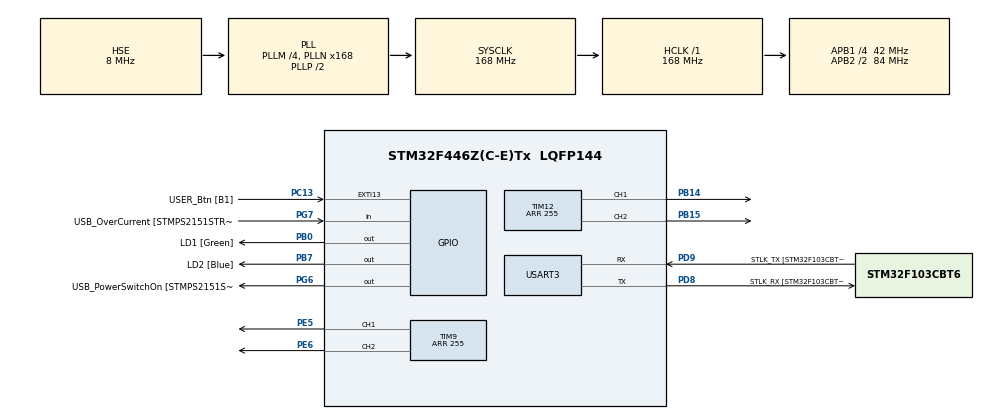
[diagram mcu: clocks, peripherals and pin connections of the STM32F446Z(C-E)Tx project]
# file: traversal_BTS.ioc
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Dma.Request0=USART3_RX
Dma.USART3_RX.0.Direction=DMA_PERIPH_TO_MEMORY
Dma.USART3_RX.0.FIFOMode=DMA_FIFOMODE_DISABLE
Dma.USART3_RX.0.Instance=DMA1_Stream1
Dma.USART3_RX.0.MemDataAlignment=DMA_MDATAALIGN_BYTE
Dma.USART3_RX.0.MemInc=DMA_MINC_ENABLE
Dma.USART3_RX.0.Mode=DMA_CIRCULAR
Dma.USART3_RX.0.PeriphDataAlignment=DMA_PDATAALIGN_BYTE
Dma.USART3_RX.0.PeriphInc=DMA_PINC_DISABLE
Dma.USART3_RX.0.Priority=DMA_PRIORITY_LOW
Mcu.Family=STM32F4
Mcu.Name=STM32F446Z(C-E)Tx
Mcu.Package=LQFP144
NVIC.DMA1_Stream1_IRQn=true\:0\:0\:false\:false\:true\:false\:true\:true
NVIC.PriorityGroup=NVIC_PRIORITYGROUP_4
PA10.GPIO_Label=USB_ID
PA10.Signal=USB_OTG_FS_ID
PA11.GPIO_Label=USB_DM
PA11.Signal=USB_OTG_FS_DM
PA12.GPIO_Label=USB_DP
PA12.Signal=USB_OTG_FS_DP
PA13.GPIO_Label=TMS
PA13.Mode=Serial_Wire
PA13.Signal=SYS_JTMS-SWDIO
PA14.GPIO_Label=TCK
PA14.Mode=Serial_Wire
PA14.Signal=SYS_JTCK-SWCLK
PA8.GPIO_Label=USB_SOF [TP1]
PA8.Signal=USB_OTG_FS_SOF
PA9.GPIO_Label=USB_VBUS
PA9.Signal=USB_OTG_FS_VBUS
PB0.GPIO_Label=LD1 [Green]
PB0.Signal=GPIO_Output
PB14.Signal=S_TIM12_CH1
PB15.Signal=S_TIM12_CH2
PB7.GPIO_Label=LD2 [Blue]
PB7.Signal=GPIO_Output
PC13.GPIO_Label=USER_Btn [B1]
PC13.Signal=GPXTI13
PC14-OSC32_IN.Mode=LSE-External-Oscillator
PC14-OSC32_IN.Signal=RCC_OSC32_IN
PC15-OSC32_OUT.Mode=LSE-External-Oscillator
PC15-OSC32_OUT.Signal=RCC_OSC32_OUT
PD8.GPIO_Label=STLK_RX [STM32F103CBT6_PA3]
PD8.Mode=Asynchronous
PD8.Signal=USART3_TX
PD9.GPIO_Label=STLK_TX [STM32F103CBT6_PA2]
PD9.Mode=Asynchronous
PD9.Signal=USART3_RX
PE5.Signal=S_TIM9_CH1
PE6.Signal=S_TIM9_CH2
PG6.GPIO_Label=USB_PowerSwitchOn [STMPS2151STR_EN]
PG6.Signal=GPIO_Output
PG7.GPIO_Label=USB_OverCurrent [STMPS2151STR_FAULT]
PG7.Signal=GPIO_Input
PH0-OSC_IN.GPIO_Label=MCO [STM32F103CBT6_PA8]
PH0-OSC_IN.Mode=HSE-External-Clock-Source
PH0-OSC_IN.Signal=RCC_OSC_IN
PH1-OSC_OUT.Mode=HSE-External-Clock-Source
PH1-OSC_OUT.Signal=RCC_OSC_OUT
ProjectManager.HeapSize=0x200
ProjectManager.StackSize=0x400
ProjectManager.TargetToolchain=STM32CubeIDE
RCC.48MHZClocksFreq_Value=24000000
RCC.AHBFreq_Value=168000000
RCC.APB1CLKDivider=RCC_HCLK_DIV4
RCC.APB1Freq_Value=42000000
RCC.APB1TimFreq_Value=84000000
RCC.APB2CLKDivider=RCC_HCLK_DIV2
RCC.APB2Freq_Value=84000000
RCC.APB2TimFreq_Value=168000000
RCC.CortexFreq_Value=168000000
RCC.HCLKFreq_Value=168000000
RCC.HSE_VALUE=8000000
RCC.HSI_VALUE=16000000
RCC.PLLM=4
RCC.PLLMUL=RCC_PLL_MUL9
RCC.PLLN=168
RCC.PLLQ=7
RCC.PLLSourceVirtual=RCC_PLLSOURCE_HSE
RCC.PRESCALERUSB=RCC_USBCLKSOURCE_PLL_DIV1_5
RCC.SYSCLKFreq_VALUE=168000000
RCC.SYSCLKSource=RCC_SYSCLKSOURCE_PLLCLK
RCC.SYSCLKSourceVirtual=RCC_SYSCLKSOURCE_PLLCLK
RCC.USBFreq_Value=48000000
RCC.VCOOutputFreq_Value=336000000
SH.S_TIM12_CH1.0=TIM12_CH1,PWM Generation1 CH1
SH.S_TIM12_CH2.0=TIM12_CH2,PWM Generation2 CH2
SH.S_TIM9_CH1.0=TIM9_CH1,PWM Generation1 CH1
SH.S_TIM9_CH2.0=TIM9_CH2,PWM Generation2 CH2
TIM12.Channel-PWM\ Generation1\ CH1=TIM_CHANNEL_1
TIM12.Channel-PWM\ Generation2\ CH2=TIM_CHANNEL_2
TIM12.Period=255
TIM9.Channel-PWM\ Generation1\ CH1=TIM_CHANNEL_1
TIM9.Channel-PWM\ Generation2\ CH2=TIM_CHANNEL_2
TIM9.Period=255
USART3.VirtualMode=VM_ASYNC
VP_TIM12_VS_ClockSourceINT.Mode=Internal
VP_TIM9_VS_ClockSourceINT.Mode=Internal
board=NUCLEO-F446ZE

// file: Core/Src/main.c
/* USER CODE BEGIN Header */
/**
  ******************************************************************************
  * @file           : main.c
  * @brief          : Main program body
  ******************************************************************************
  * @attention
  *
  * Copyright (c) 2026 STMicroelectronics.
  * All rights reserved.
  *
  * This software is licensed under terms that can be found in the LICENSE file
  * in the root directory of this software component.
  * If no LICENSE file comes with this software, it is provided AS-IS.
  *
  ******************************************************************************
  */
/* USER CODE END Header */
#include "main.h"

TIM_HandleTypeDef htim9;
TIM_HandleTypeDef htim12;

UART_HandleTypeDef huart3;
DMA_HandleTypeDef hdma_usart3_rx;

/* USER CODE BEGIN PV */

volatile uint8_t UART3_rxBuffer[4] = {0};

/* USER CODE END PV */

void SystemClock_Config(void);
static void MX_GPIO_Init(void);
static void MX_DMA_Init(void);
static void MX_USART3_UART_Init(void);
static void MX_TIM9_Init(void);
static void MX_TIM12_Init(void);
/* USER CODE BEGIN PFP */

void setMotor_direct(volatile uint8_t cmd[4])
{
    int left_pwm  = cmd[0];  // 0–255
    int left_dir  = cmd[1];  // 0 = forward, 1 = backward
    int right_pwm = cmd[2]; // 0–255
    int right_dir = cmd[3]; // 0 = forward, 1 = backward

    if (left_pwm > 255) left_pwm = 255;
    if (right_pwm > 255) right_pwm = 255;

    int left_speed = left_pwm;
    int right_speed = right_pwm;

    /* LEFT MOTORS (TIM9) — clear first */
    TIM9->CCR1 = 0;
    TIM9->CCR2 = 0;

    /* RIGHT MOTORS (TIM12) — clear first */
    TIM12->CCR1 = 0;
    TIM12->CCR2 = 0;

    /* LEFT */
    if (left_dir == 0) {
        TIM9->CCR1 = left_speed;
    } else {
        TIM9->CCR2 = left_speed;
    }

    /* RIGHT */
    if (right_dir == 0) {
        TIM12->CCR1 = right_speed;
    } else {
        TIM12->CCR2 = right_speed;
    }
}

/* USER CODE END PFP */

int main(void)
{

  /* MCU Configuration--------------------------------------------------------*/

  /* Reset of all peripherals, Initializes the Flash interface and the Systick. */
  HAL_Init();

  /* Configure the system clock */
  SystemClock_Config();

  /* Initialize all configured peripherals */
  MX_GPIO_Init();
  MX_DMA_Init();
  MX_USART3_UART_Init();
  MX_TIM9_Init();
  MX_TIM12_Init();
  /* USER CODE BEGIN 2 */
  HAL_UART_Receive_DMA(&huart3, UART3_rxBuffer, 4);
  HAL_TIM_PWM_Start(&htim9, TIM_CHANNEL_1);
  HAL_TIM_PWM_Start(&htim9, TIM_CHANNEL_2);

  HAL_TIM_PWM_Start(&htim12, TIM_CHANNEL_1);
  HAL_TIM_PWM_Start(&htim12, TIM_CHANNEL_2);

  /* USER CODE END 2 */

  /* Infinite loop */
  while (1)
  {

    /* USER CODE BEGIN 3 */
	  setMotor_direct(UART3_rxBuffer);
  }
  /* USER CODE END 3 */
}

void SystemClock_Config(void)
{
  RCC_OscInitTypeDef RCC_OscInitStruct = {0};
  RCC_ClkInitTypeDef RCC_ClkInitStruct = {0};

  /** Configure the main internal regulator output voltage
  */
  __HAL_RCC_PWR_CLK_ENABLE();
  __HAL_PWR_VOLTAGESCALING_CONFIG(PWR_REGULATOR_VOLTAGE_SCALE1);

  /** Initializes the RCC Oscillators according to the specified parameters
  * in the RCC_OscInitTypeDef structure.
  */
  RCC_OscInitStruct.OscillatorType = RCC_OSCILLATORTYPE_HSE;
  RCC_OscInitStruct.HSEState = RCC_HSE_BYPASS;
  RCC_OscInitStruct.PLL.PLLState = RCC_PLL_ON;
  RCC_OscInitStruct.PLL.PLLSource = RCC_PLLSOURCE_HSE;
  RCC_OscInitStruct.PLL.PLLM = 4;
  RCC_OscInitStruct.PLL.PLLN = 168;
  RCC_OscInitStruct.PLL.PLLP = RCC_PLLP_DIV2;
  RCC_OscInitStruct.PLL.PLLQ = 7;
  RCC_OscInitStruct.PLL.PLLR = 2;
  if (HAL_RCC_OscConfig(&RCC_OscInitStruct) != HAL_OK)
  {
    Error_Handler();
  }

  /** Initializes the CPU, AHB and APB buses clocks
  */
  RCC_ClkInitStruct.ClockType = RCC_CLOCKTYPE_HCLK|RCC_CLOCKTYPE_SYSCLK
                              |RCC_CLOCKTYPE_PCLK1|RCC_CLOCKTYPE_PCLK2;
  RCC_ClkInitStruct.SYSCLKSource = RCC_SYSCLKSOURCE_PLLCLK;
  RCC_ClkInitStruct.AHBCLKDivider = RCC_SYSCLK_DIV1;
  RCC_ClkInitStruct.APB1CLKDivider = RCC_HCLK_DIV4;
  RCC_ClkInitStruct.APB2CLKDivider = RCC_HCLK_DIV2;

  if (HAL_RCC_ClockConfig(&RCC_ClkInitStruct, FLASH_LATENCY_5) != HAL_OK)
  {
    Error_Handler();
  }
}

static void MX_TIM9_Init(void)
{

  TIM_ClockConfigTypeDef sClockSourceConfig = {0};
  TIM_OC_InitTypeDef sConfigOC = {0};

  htim9.Instance = TIM9;
  htim9.Init.Prescaler = 0;
  htim9.Init.CounterMode = TIM_COUNTERMODE_UP;
  htim9.Init.Period = 255;
  htim9.Init.ClockDivision = TIM_CLOCKDIVISION_DIV1;
  htim9.Init.AutoReloadPreload = TIM_AUTORELOAD_PRELOAD_DISABLE;
  if (HAL_TIM_Base_Init(&htim9) != HAL_OK)
  {
    Error_Handler();
  }
  sClockSourceConfig.ClockSource = TIM_CLOCKSOURCE_INTERNAL;
  if (HAL_TIM_ConfigClockSource(&htim9, &sClockSourceConfig) != HAL_OK)
  {
    Error_Handler();
  }
  if (HAL_TIM_PWM_Init(&htim9) != HAL_OK)
  {
    Error_Handler();
  }
  sConfigOC.OCMode = TIM_OCMODE_PWM1;
  sConfigOC.Pulse = 0;
  sConfigOC.OCPolarity = TIM_OCPOLARITY_HIGH;
  sConfigOC.OCFastMode = TIM_OCFAST_DISABLE;
  if (HAL_TIM_PWM_ConfigChannel(&htim9, &sConfigOC, TIM_CHANNEL_1) != HAL_OK)
  {
    Error_Handler();
  }
  if (HAL_TIM_PWM_ConfigChannel(&htim9, &sConfigOC, TIM_CHANNEL_2) != HAL_OK)
  {
    Error_Handler();
  }
  HAL_TIM_MspPostInit(&htim9);

}

static void MX_TIM12_Init(void)
{

  TIM_ClockConfigTypeDef sClockSourceConfig = {0};
  TIM_OC_InitTypeDef sConfigOC = {0};

  htim12.Instance = TIM12;
  htim12.Init.Prescaler = 0;
  htim12.Init.CounterMode = TIM_COUNTERMODE_UP;
  htim12.Init.Period = 255;
  htim12.Init.ClockDivision = TIM_CLOCKDIVISION_DIV1;
  htim12.Init.AutoReloadPreload = TIM_AUTORELOAD_PRELOAD_DISABLE;
  if (HAL_TIM_Base_Init(&htim12) != HAL_OK)
  {
    Error_Handler();
  }
  sClockSourceConfig.ClockSource = TIM_CLOCKSOURCE_INTERNAL;
  if (HAL_TIM_ConfigClockSource(&htim12, &sClockSourceConfig) != HAL_OK)
  {
    Error_Handler();
  }
  if (HAL_TIM_PWM_Init(&htim12) != HAL_OK)
  {
    Error_Handler();
  }
  sConfigOC.OCMode = TIM_OCMODE_PWM1;
  sConfigOC.Pulse = 0;
  sConfigOC.OCPolarity = TIM_OCPOLARITY_HIGH;
  sConfigOC.OCFastMode = TIM_OCFAST_DISABLE;
  if (HAL_TIM_PWM_ConfigChannel(&htim12, &sConfigOC, TIM_CHANNEL_1) != HAL_OK)
  {
    Error_Handler();
  }
  if (HAL_TIM_PWM_ConfigChannel(&htim12, &sConfigOC, TIM_CHANNEL_2) != HAL_OK)
  {
    Error_Handler();
  }
  HAL_TIM_MspPostInit(&htim12);

}

static void MX_USART3_UART_Init(void)
{

  huart3.Instance = USART3;
  huart3.Init.BaudRate = 115200;
  huart3.Init.WordLength = UART_WORDLENGTH_8B;
  huart3.Init.StopBits = UART_STOPBITS_1;
  huart3.Init.Parity = UART_PARITY_NONE;
  huart3.Init.Mode = UART_MODE_TX_RX;
  huart3.Init.HwFlowCtl = UART_HWCONTROL_NONE;
  huart3.Init.OverSampling = UART_OVERSAMPLING_16;
  if (HAL_UART_Init(&huart3) != HAL_OK)
  {
    Error_Handler();
  }

}

static void MX_DMA_Init(void)
{

  /* DMA controller clock enable */
  __HAL_RCC_DMA1_CLK_ENABLE();

  /* DMA interrupt init */
  /* DMA1_Stream1_IRQn interrupt configuration */
  HAL_NVIC_SetPriority(DMA1_Stream1_IRQn, 0, 0);
  HAL_NVIC_EnableIRQ(DMA1_Stream1_IRQn);

}

static void MX_GPIO_Init(void)
{
  GPIO_InitTypeDef GPIO_InitStruct = {0};

  /* GPIO Ports Clock Enable */
  __HAL_RCC_GPIOE_CLK_ENABLE();
  __HAL_RCC_GPIOC_CLK_ENABLE();
  __HAL_RCC_GPIOH_CLK_ENABLE();
  __HAL_RCC_GPIOB_CLK_ENABLE();
  __HAL_RCC_GPIOD_CLK_ENABLE();
  __HAL_RCC_GPIOG_CLK_ENABLE();
  __HAL_RCC_GPIOA_CLK_ENABLE();

  /*Configure GPIO pin Output Level */
  HAL_GPIO_WritePin(GPIOB, LD1_Pin|LD2_Pin, GPIO_PIN_RESET);

  /*Configure GPIO pin Output Level */
  HAL_GPIO_WritePin(USB_PowerSwitchOn_GPIO_Port, USB_PowerSwitchOn_Pin, GPIO_PIN_RESET);

  /*Configure GPIO pin : USER_Btn_Pin */
  GPIO_InitStruct.Pin = USER_Btn_Pin;
  GPIO_InitStruct.Mode = GPIO_MODE_IT_RISING;
  GPIO_InitStruct.Pull = GPIO_NOPULL;
  HAL_GPIO_Init(USER_Btn_GPIO_Port, &GPIO_InitStruct);

  /*Configure GPIO pins : LD1_Pin LD2_Pin */
  GPIO_InitStruct.Pin = LD1_Pin|LD2_Pin;
  GPIO_InitStruct.Mode = GPIO_MODE_OUTPUT_PP;
  GPIO_InitStruct.Pull = GPIO_NOPULL;
  GPIO_InitStruct.Speed = GPIO_SPEED_FREQ_LOW;
  HAL_GPIO_Init(GPIOB, &GPIO_InitStruct);

  /*Configure GPIO pin : USB_PowerSwitchOn_Pin */
  GPIO_InitStruct.Pin = USB_PowerSwitchOn_Pin;
  GPIO_InitStruct.Mode = GPIO_MODE_OUTPUT_PP;
  GPIO_InitStruct.Pull = GPIO_NOPULL;
  GPIO_InitStruct.Speed = GPIO_SPEED_FREQ_LOW;
  HAL_GPIO_Init(USB_PowerSwitchOn_GPIO_Port, &GPIO_InitStruct);

  /*Configure GPIO pin : USB_OverCurrent_Pin */
  GPIO_InitStruct.Pin = USB_OverCurrent_Pin;
  GPIO_InitStruct.Mode = GPIO_MODE_INPUT;
  GPIO_InitStruct.Pull = GPIO_NOPULL;
  HAL_GPIO_Init(USB_OverCurrent_GPIO_Port, &GPIO_InitStruct);

  /*Configure GPIO pins : USB_SOF_Pin USB_ID_Pin USB_DM_Pin USB_DP_Pin */
  GPIO_InitStruct.Pin = USB_SOF_Pin|USB_ID_Pin|USB_DM_Pin|USB_DP_Pin;
  GPIO_InitStruct.Mode = GPIO_MODE_AF_PP;
  GPIO_InitStruct.Pull = GPIO_NOPULL;
  GPIO_InitStruct.Speed = GPIO_SPEED_FREQ_VERY_HIGH;
  GPIO_InitStruct.Alternate = GPIO_AF10_OTG_FS;
  HAL_GPIO_Init(GPIOA, &GPIO_InitStruct);

  /*Configure GPIO pin : USB_VBUS_Pin */
  GPIO_InitStruct.Pin = USB_VBUS_Pin;
  GPIO_InitStruct.Mode = GPIO_MODE_INPUT;
  GPIO_InitStruct.Pull = GPIO_NOPULL;
  HAL_GPIO_Init(USB_VBUS_GPIO_Port, &GPIO_InitStruct);

}

void Error_Handler(void)
{
  __disable_irq();
  while (1)
  {
  }
}
